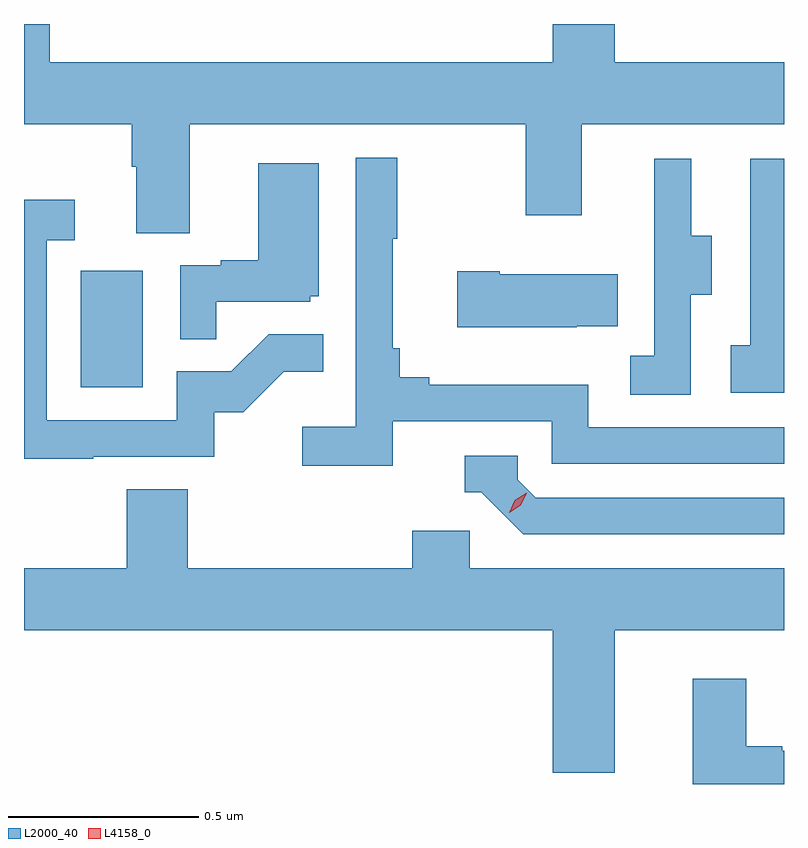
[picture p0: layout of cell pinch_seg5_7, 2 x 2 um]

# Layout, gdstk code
import gdstk
lib = gdstk.Library(unit=1e-6, precision=1e-09)
def R(c, l, rs):  # rectangles x0, y0, x1, y1
    for r in rs: c.add(gdstk.rectangle(r[:2], r[2:], *l))
def P(c, l, *ps):  # polygons
    for p in ps: c.add(gdstk.Polygon(p, *l))
L2000_40 = (2000, 40)
L4158_0 = (4158, 0)

pinch_seg5_7 = lib.new_cell('pinch_seg5_7')
R(pinch_seg5_7, L2000_40, [(1134.794,898.692,1134.958,898.999)])
P(pinch_seg5_7, L2000_40, [(1135.081,899.384),(1135.966,899.384),(1135.966,899.145),(1136.113,899.145),(1136.113,899.384),(1136.645,899.384),(1136.645,899.548),(1136.2,899.548),(1136.2,899.648),(1136.036,899.648),(1136.036,899.548),(1134.713,899.548),(1134.713,899.648),(1134.645,899.648),(1134.645,899.384),(1134.929,899.384),(1134.929,899.272),(1134.941,899.272),(1134.941,899.098),(1135.081,899.098)],
  [(1135.616,898.602),(1136.034,898.602),(1136.034,898.491),(1136.645,898.491),(1136.645,898.587),(1136.13,898.587),(1136.13,898.699),(1135.711,898.699),(1135.711,898.718),(1135.634,898.718),(1135.634,898.795),(1135.615,898.795),(1135.615,899.083),(1135.627,899.083),(1135.627,899.296),(1135.518,899.296),(1135.518,898.588),(1135.377,898.588),(1135.377,898.486),(1135.616,898.486)],
  [(1136.4,898.936),(1136.455,898.936),(1136.455,899.091),(1136.401,899.091),(1136.401,899.293),(1136.303,899.293),(1136.303,899.079),(1136.304,899.079),(1136.304,898.775),(1136.241,898.775),(1136.241,898.672),(1136.4,898.672)],
  [(1136.645,899.293),(1136.556,899.293),(1136.556,898.802),(1136.505,898.802),(1136.505,898.677),(1136.645,898.677)],
  [(1135.151,898.917),(1135.398,898.917),(1135.398,898.932),(1135.42,898.932),(1135.42,899.281),(1135.262,899.281),(1135.262,899.026),(1135.163,899.026),(1135.163,899.013),(1135.056,899.013),(1135.056,898.819),(1135.151,898.819)],
  [(1134.827,898.509),(1135.146,898.509),(1135.146,898.626),(1135.222,898.626),(1135.329,898.733),(1135.433,898.733),(1135.433,898.832),(1135.289,898.832),(1135.191,898.734),(1135.047,898.734),(1135.047,898.605),(1134.705,898.605),(1134.705,899.079),(1134.778,899.079),(1134.778,899.185),(1134.645,899.185),(1134.645,898.504),(1134.827,898.504)],
  [(1136.099,898.853),(1136.207,898.853),(1136.207,898.99),(1135.897,898.99),(1135.897,898.998),(1135.785,898.998),(1135.785,898.85),(1136.099,898.85)],
  [(1136.645,898.401),(1135.992,898.401),(1135.944,898.449),(1135.944,898.512),(1135.805,898.512),(1135.805,898.416),(1135.848,898.416),(1135.959,898.305),(1136.645,898.305)],
  [(1136.2,898.052),(1136.645,898.052),(1136.645,898.216),(1135.818,898.216),(1135.818,898.314),(1135.667,898.314),(1135.667,898.216),(1135.076,898.216),(1135.076,898.424),(1134.916,898.424),(1134.916,898.216),(1134.645,898.216),(1134.645,898.052),(1136.036,898.052),(1136.036,897.678),(1136.2,897.678)],
  [(1136.645,897.735),(1136.641,897.735),(1136.641,897.748),(1136.545,897.748),(1136.545,897.925),(1136.405,897.925),(1136.405,897.648),(1136.645,897.648)])
P(pinch_seg5_7, L4158_0, [(1135.922,898.362),(1135.922,898.362),(1135.937,898.395),(1135.968,898.415),(1135.968,898.415),(1135.968,898.415),(1135.952,898.382),(1135.922,898.362)])

lib.write_gds('pinch_seg5_7.gds')
